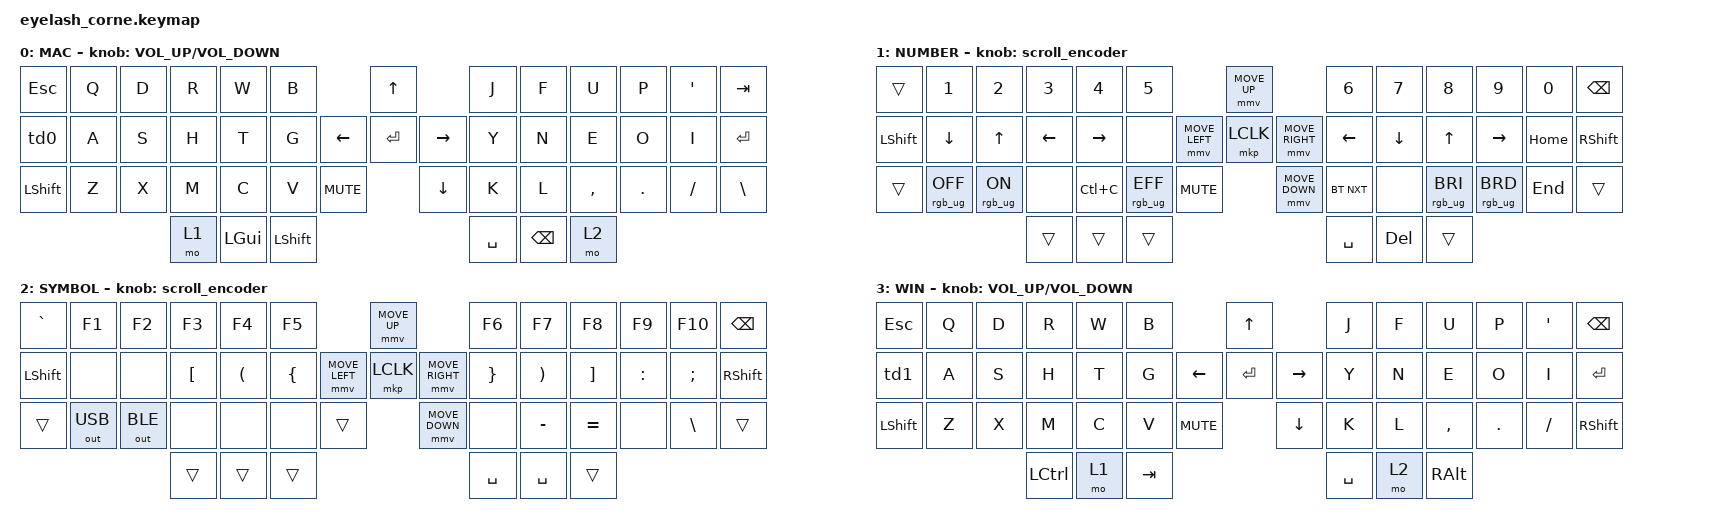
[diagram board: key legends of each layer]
#include <dt-bindings/zmk/mouse.h>
#include <input/processors.dtsi>
#include <behaviors.dtsi>
#include <dt-bindings/zmk/bt.h>
#include <dt-bindings/zmk/keys.h>
#include <dt-bindings/zmk/outputs.h>
#include <dt-bindings/zmk/pointing.h>
#include <dt-bindings/zmk/pointing.h>
#include <dt-bindings/zmk/pointing.h>
#include <dt-bindings/zmk/rgb.h>

/*

   &mmv_input_listener {
       input-processors = <&zip_xy_scaler 2 1>;
   };

   &msc_input_listener {
       input-processors = <&zip_xy_scaler 2 1>;
   };

 */

#define ZMK_MOUSE_DEFAULT_MOVE_VAL 1200  // 600
#define ZMK_MOUSE_DEFAULT_SCRL_VAL 20    // 10

/ {
    behaviors {
        td0: td0 {
            compatible = "zmk,behavior-tap-dance";
            display-name = "Shift/Caps Lock Tap Dance";
            #binding-cells = <0>;
            bindings = <&kp LCTRL>, <&mo 2>, <&to 3>;

            tapping-term-ms = <200>;
        };

        td1: td1 {
            compatible = "zmk,behavior-tap-dance";
            display-name = "Shift/Caps Lock Tap Dance";
            #binding-cells = <0>;
            bindings = <&kp LCTRL>, <&mo 2>, <&to 0>;

            tapping-term-ms = <200>;
            label = "TD1";
        };
    };

    rgb_encoder: rgb_encoder {
        compatible = "zmk,behavior-sensor-rotate";
        #sensor-binding-cells = <0>;
        bindings = <&rgb_ug RGB_BRI>, <&rgb_ug RGB_BRD>;
    };

    scroll_encoder: scroll_encoder {
        compatible = "zmk,behavior-sensor-rotate";
        #sensor-binding-cells = <0>;
        bindings = <&msc SCRL_DOWN>, <&msc SCRL_UP>;

        tap-ms = <30>;
    };

    keymap {
        compatible = "zmk,keymap";

        layer0 {
            display-name = "MAC";
            bindings = <
&kp ESCAPE      &kp Q  &kp D  &kp R  &kp W         &kp B                                   &kp UP                &kp J      &kp F          &kp U      &kp P    &kp SINGLE_QUOTE  &kp TAB
&td0            &kp A  &kp S  &kp H  &kp T         &kp G                         &kp LEFT  &kp ENTER  &kp RIGHT  &kp Y      &kp N          &kp E      &kp O    &kp I             &kp ENTER
&kp LEFT_SHIFT  &kp Z  &kp X  &kp M  &kp C         &kp V           &kp K_MUTE              &kp DOWN              &kp K      &kp L          &kp COMMA  &kp DOT  &kp FSLH          &kp BACKSLASH
                              &mo 1  &kp LEFT_GUI  &kp LEFT_SHIFT                                                &kp SPACE  &kp BACKSPACE  &mo 2
            >;

            sensor-bindings = <&inc_dec_kp C_VOLUME_UP C_VOLUME_DOWN>;
        };

        layer1 {
            display-name = "NUMBER";
            bindings = <
&trans          &kp N1           &kp N2          &kp N3    &kp N4     &kp N5                                         &mmv MOVE_UP                     &kp N6      &kp N7    &kp N8           &kp N9           &kp N0    &kp BSPC
&kp LEFT_SHIFT  &kp DOWN         &kp UP_ARROW    &kp LEFT  &kp RIGHT  &none                          &mmv MOVE_LEFT  &mkp LCLK       &mmv MOVE_RIGHT  &kp LEFT    &kp DOWN  &kp UP           &kp RIGHT        &kp HOME  &kp RSHIFT
&trans          &rgb_ug RGB_OFF  &rgb_ug RGB_ON  &none     &kp LC(C)  &rgb_ug RGB_EFF  &kp C_MUTE                    &mmv MOVE_DOWN                   &bt BT_NXT  &none     &rgb_ug RGB_BRI  &rgb_ug RGB_BRD  &kp END   &trans
                                                 &trans    &trans     &trans                                                                          &kp SPACE   &kp DEL   &trans
            >;

            sensor-bindings = <&scroll_encoder>;
        };

        layer2 {
            display-name = "SYMBOL";
            bindings = <
&kp GRAVE       &kp F1        &kp F2        &kp F3            &kp F4                &kp F5                                    &mmv MOVE_UP                     &kp F6           &kp F7                 &kp F8             &kp F9     &kp F10        &kp BSPC
&kp LEFT_SHIFT  &none         &none         &kp LEFT_BRACKET  &kp LEFT_PARENTHESIS  &kp LEFT_BRACE            &mmv MOVE_LEFT  &mkp LCLK       &mmv MOVE_RIGHT  &kp RIGHT_BRACE  &kp RIGHT_PARENTHESIS  &kp RIGHT_BRACKET  &kp COLON  &kp SEMI       &kp RSHIFT
&trans          &out OUT_USB  &out OUT_BLE  &none             &none                 &none           &trans                    &mmv MOVE_DOWN                   &none            &kp MINUS              &kp EQUAL          &none      &kp BACKSLASH  &trans
                                            &trans            &trans                &trans                                                                     &kp SPACE        &kp SPACE              &trans
            >;

            sensor-bindings = <&scroll_encoder>;
        };

        layer3 {
            display-name = "WIN";
            bindings = <
&kp ESCAPE      &kp Q  &kp D  &kp R             &kp W  &kp B                            &kp UP                &kp J      &kp F  &kp U      &kp P    &kp SINGLE_QUOTE  &kp BACKSPACE
&td1            &kp A  &kp S  &kp H             &kp T  &kp G                  &kp LEFT  &kp ENTER  &kp RIGHT  &kp Y      &kp N  &kp E      &kp O    &kp I             &kp ENTER
&kp LEFT_SHIFT  &kp Z  &kp X  &kp M             &kp C  &kp V    &kp K_MUTE              &kp DOWN              &kp K      &kp L  &kp COMMA  &kp DOT  &kp FSLH          &kp RIGHT_SHIFT
                              &kp LEFT_CONTROL  &mo 1  &kp TAB                                                &kp SPACE  &mo 2  &kp RALT
            >;

            sensor-bindings = <&inc_dec_kp C_VOLUME_UP C_VOLUME_DOWN>;
        };
    };
};
